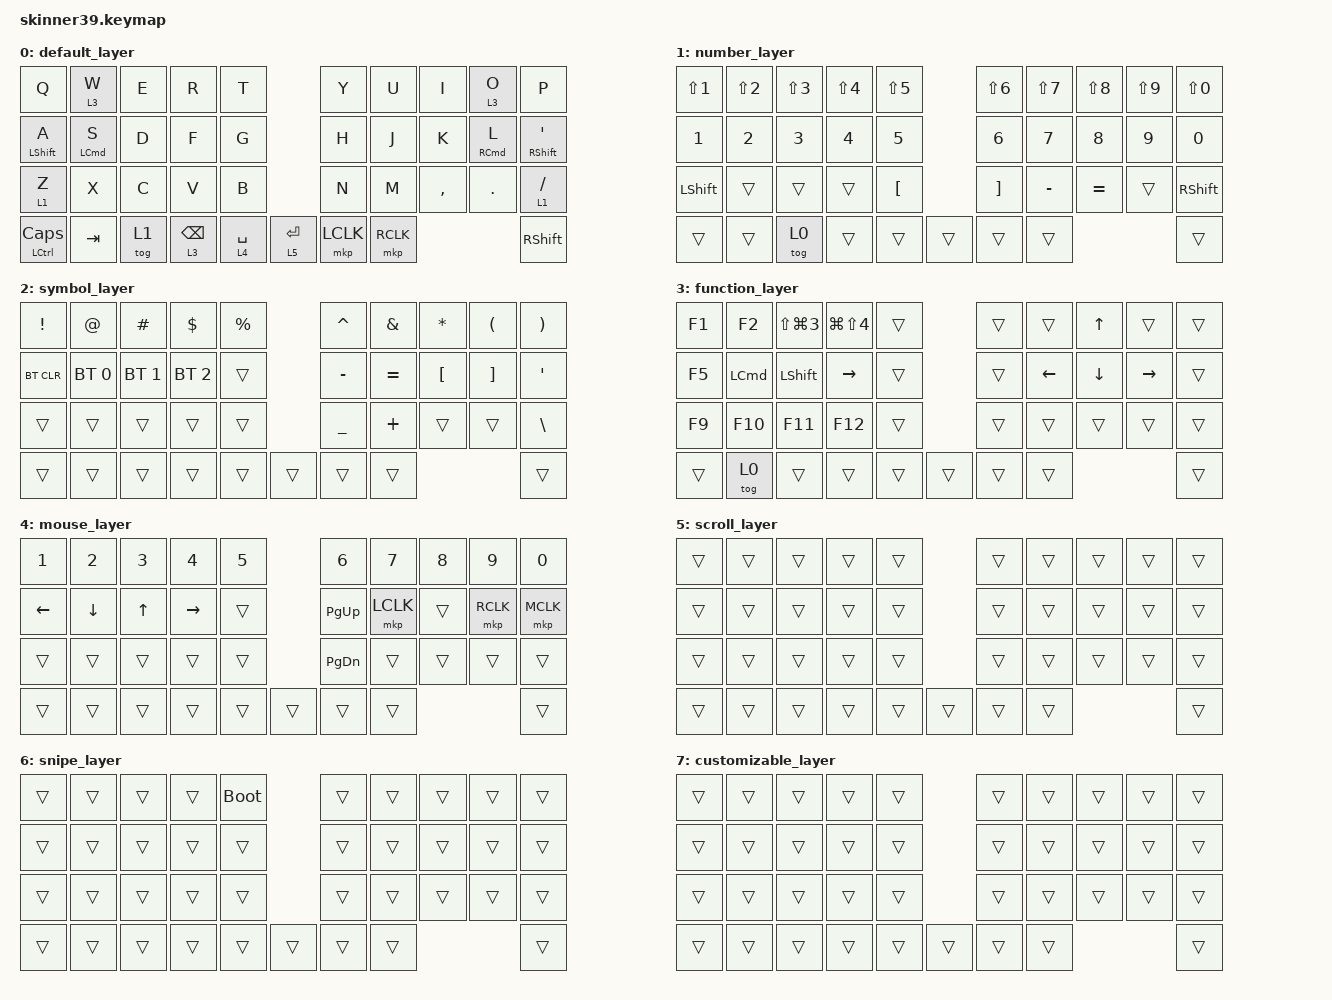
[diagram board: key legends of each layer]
#include <behaviors.dtsi>
#include <dt-bindings/zmk/bt.h>
#include <dt-bindings/zmk/keys.h>
#include <dt-bindings/zmk/pointing.h>

/ {
    keymap {
        compatible = "zmk,keymap";

        default_layer {
            bindings = <
  &kp Q             &lt 3 W             &kp E   &kp R            &kp T                              &kp Y      &kp U  &kp I      &lt 3 O              &kp P
  &mt LEFT_SHIFT A  &mt LEFT_COMMAND S  &kp D   &kp F            &kp G                              &kp H      &kp J  &kp K      &mt RIGHT_COMMAND L  &mt RIGHT_SHIFT SINGLE_QUOTE
  &lt 1 Z           &kp X               &kp C   &kp V            &kp B                              &kp N      &kp M  &kp COMMA  &kp PERIOD           &lt 1 SLASH
  &mt LCTRL CLCK    &kp TAB             &tog 1  &lt 3 BACKSPACE  &lt 4 SPACE  &lt 5 RET  &mkp LCLK  &mkp RCLK                                         &kp RIGHT_SHIFT
            >;
        };

        number_layer {
            bindings = <
  &kp LS(NUMBER_1)  &kp LS(NUMBER_2)  &kp LS(NUMBER_3)  &kp LS(NUMBER_4)  &kp LS(NUMBER_5)                  &kp LS(NUMBER_6)   &kp LS(NUMBER_7)  &kp LS(NUMBER_8)  &kp LS(NUMBER_9)  &kp LS(NUMBER_0)
  &kp NUMBER_1      &kp NUMBER_2      &kp NUMBER_3      &kp NUMBER_4      &kp N5                            &kp NUMBER_6       &kp N7            &kp N8            &kp NUMBER_9      &kp N0
  &kp LEFT_SHIFT    &trans            &trans            &trans            &kp LEFT_BRACKET                  &kp RIGHT_BRACKET  &kp MINUS         &kp EQUAL         &trans            &kp RIGHT_SHIFT
  &trans            &trans            &tog 0            &trans            &trans            &trans  &trans  &trans                                                                   &trans
            >;
        };

        symbol_layer {
            bindings = <
  &kp EXCLAMATION  &kp AT_SIGN   &kp HASH      &kp DOLLAR    &kp PERCENT                  &kp CARET       &kp AMPERSAND  &kp ASTERISK      &kp LEFT_PARENTHESIS  &kp RIGHT_PARENTHESIS
  &bt BT_CLR       &bt BT_SEL 0  &bt BT_SEL 1  &bt BT_SEL 2  &trans                       &kp MINUS       &kp EQUAL      &kp LEFT_BRACKET  &kp RIGHT_BRACKET     &kp SQT
  &trans           &trans        &trans        &trans        &trans                       &kp UNDERSCORE  &kp PLUS       &trans            &trans                &kp BACKSLASH
  &trans           &trans        &trans        &trans        &trans       &trans  &trans  &trans                                                                 &trans
            >;
        };

        function_layer {
            bindings = <
  &kp F1  &kp F2            &kp LS(LG(NUMBER_3))  &kp LG(LS(NUMBER_4))  &trans                  &trans  &trans          &kp UP_ARROW    &trans     &trans
  &kp F5  &kp LEFT_COMMAND  &kp LEFT_SHIFT        &kp RIGHT             &trans                  &trans  &kp LEFT_ARROW  &kp DOWN_ARROW  &kp RIGHT  &trans
  &kp F9  &kp F10           &kp F11               &kp F12               &trans                  &trans  &trans          &trans          &trans     &trans
  &trans  &tog 0            &trans                &trans                &trans  &trans  &trans  &trans                                             &trans
            >;
        };

        mouse_layer {
            bindings = <
  &kp N1          &kp N2          &kp N3        &kp N4     &kp N5                  &kp N6         &kp N7     &kp N8  &kp N9     &kp N0
  &kp LEFT_ARROW  &kp DOWN_ARROW  &kp UP_ARROW  &kp RIGHT  &trans                  &kp PAGE_UP    &mkp LCLK  &trans  &mkp RCLK  &mkp MCLK
  &trans          &trans          &trans        &trans     &trans                  &kp PAGE_DOWN  &trans     &trans  &trans     &trans
  &trans          &trans          &trans        &trans     &trans  &trans  &trans  &trans                                       &trans
            >;
        };

        scroll_layer {
            bindings = <
  &trans  &trans  &trans  &trans  &trans                  &trans  &trans  &trans  &trans  &trans
  &trans  &trans  &trans  &trans  &trans                  &trans  &trans  &trans  &trans  &trans
  &trans  &trans  &trans  &trans  &trans                  &trans  &trans  &trans  &trans  &trans
  &trans  &trans  &trans  &trans  &trans  &trans  &trans  &trans                          &trans
            >;
        };

        snipe_layer {
            bindings = <
  &trans  &trans  &trans  &trans  &bootloader                  &trans  &trans  &trans  &trans  &trans
  &trans  &trans  &trans  &trans  &trans                       &trans  &trans  &trans  &trans  &trans
  &trans  &trans  &trans  &trans  &trans                       &trans  &trans  &trans  &trans  &trans
  &trans  &trans  &trans  &trans  &trans       &trans  &trans  &trans                          &trans
            >;
        };

        customizable_layer {
            bindings = <
  &trans  &trans  &trans  &trans  &trans                  &trans  &trans  &trans  &trans  &trans
  &trans  &trans  &trans  &trans  &trans                  &trans  &trans  &trans  &trans  &trans
  &trans  &trans  &trans  &trans  &trans                  &trans  &trans  &trans  &trans  &trans
  &trans  &trans  &trans  &trans  &trans  &trans  &trans  &trans                          &trans
            >;
        };
    };
};
